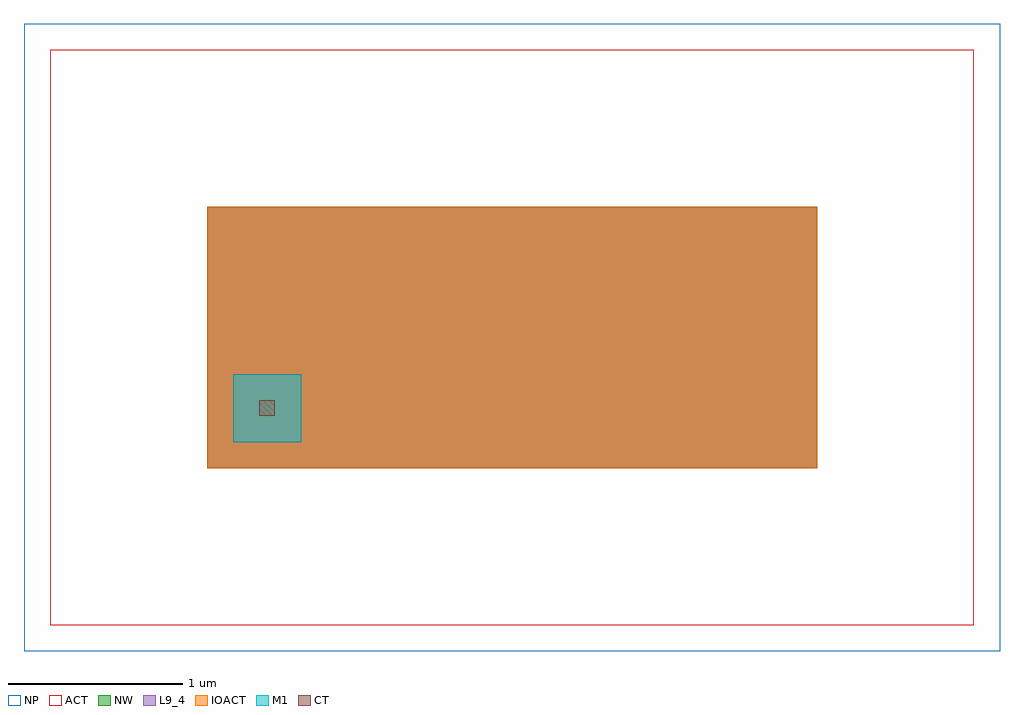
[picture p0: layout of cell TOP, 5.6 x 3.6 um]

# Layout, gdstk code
import gdstk
lib = gdstk.Library(unit=1e-6, precision=1e-09)
def R(c, l, rs):  # rectangles x0, y0, x1, y1
    for r in rs: c.add(gdstk.rectangle(r[:2], r[2:], *l))
ACT = (2, 1)
NW = (9, 1)
L9_4 = (9, 4)
NP = (52, 1)
IOACT = (71, 1)
CT = (72, 1)
M1 = (81, 1)

top = lib.new_cell('TOP')
R(top, ACT, [(-0.9,-0.9,4.4,2.4)])
R(top, NW, [(0,0,3.5,1.5)])
R(top, L9_4, [(0,0,3.5,1.5)])
R(top, NP, [(-1.05,-1.05,4.55,2.55)])
R(top, IOACT, [(0,0,3.5,1.5)])
R(top, CT, [(0.3,0.3,0.39,0.39)])
R(top, M1, [(0.15,0.15,0.54,0.54)])

lib.write_gds('TOP.gds')
